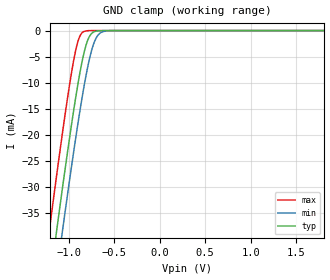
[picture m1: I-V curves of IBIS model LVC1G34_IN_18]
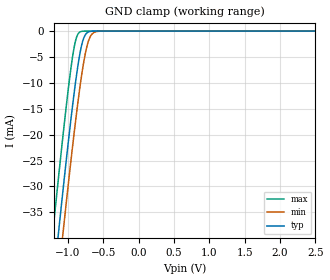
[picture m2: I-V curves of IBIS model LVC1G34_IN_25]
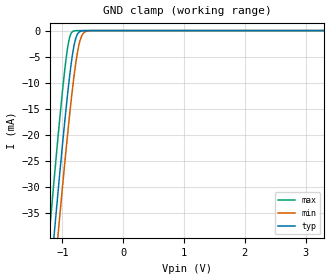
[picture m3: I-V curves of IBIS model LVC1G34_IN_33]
| TEXAS INSTRUMENTS INCORPORATED
| Standard Linear and Logic Group
| IBIS Model of SN74LVC1G34
| Single Buffer Gate
| This file contains package information for the following:
|  SON 6-pin (DSF) package as [Component] LVC1G34_DSF
|  SOT 5-pin (DCK) package as [Component] LVC1G34_DCK
|  SOT 5-pin (DBV) package as [Component] LVC1G34_DBV
|  DSBGA 5-pin (YEP) package as [Component] LVC1G34_YEP
|  DSBGA 5-pin (YZP) package as [Component] LVC1G34_YZP
|  DSBGA 4-pin (YZV) package as [Component] LVC1G34_YZV
| This device can be powered at the following Vccs:
|  1.8 volt Vcc
|  2.5 volt Vcc
|  3.3 volt Vcc
|  5 volt Vcc
| This file provides unique models under the [Model Selector] for each Vcc.
| For operation at a specific Vcc, select the appropriate model after each
| [Model Selector] keyword.
[IBIS Ver]   3.2
[Comment char]  |_char
[File Name]   sn74lvc1g34-5v.ibs
[File Rev]   1.4 | d_die
[Date]   03/06/2014
[Source]
| Texas Instruments Incorporated.
| Analog-eLab Design Center, HPA
| 12500 TI Blvd
| Dallas, TX -75243
[Notes]   Revision History:
| The following is an IBIS list for the LVC1G34.
| Please contact sllibis@ti.com with questions and
| comments concerning SLL IBIS models.
| - FILE REV HISTORY
| - 1.2 YEP and YZP packages added on 06/28/04
| - 1.3 YZV package added on 12/21/05
| - Power clamp data deleted as there is no power-clamp diode.
| - Due to the fact that the device is 5-V input/output
|   tolerant, the pullup/pulldown data has some
|   non-monotonic warnings.
| - 1.4 DSF package added 03/06/2014.
[Disclaimer]
| Property of Texas Instruments Incorporated.  Unauthorized
| reproduction and/or distribution is strictly prohibited.
| This product is protected under copyright law.
| Created  2003, (C) Copyright  2003, Texas Instruments
| Incorporated, All Rights Reserved
| UNLESS THERE IS A SIGNED, WRITTEN AGREEMENT TO THE
| CONTRARY, TEXAS INSTRUMENTS (TI) IS PROVIDING THE IBIS
| MODELS  AND WITHOUT ANY WARRANTY, EXPRESSED OR
| IMPLIED.  TI assumes no liability for:
|  1) the accuracy of the IBIS models provided to your
|   company;
|  2) the proper functioning of these IBIS Models in your
|   design or for any resulting applications; or
|  3) infringement of patents, copyrights or intellectual
|   property rights resulting from your use of these IBIS
|   models.
| TI provides IBIS Models as a service to our customers.
| You and your company shall not distribute, sell or give
| these models to anyone else without prior written
| permission from TI.
| TI reserves the right to make changes to our products or
| to discontinue any semiconductor product or service
| without notice, and advises our customers to obtain the
| latest version of relevant information to verify, before
| placing orders, that the information being relied on is
| current.
| Please be aware that your receipt and use of the IBIS
| information provided shall serve as acceptance of these
| terms and conditions.  If you do not accept these terms,
| you should return or destroy the IBIS models and any
| other accompanying information immediately.
[Copyright]
(C) Copyright 2014 Texas Instruments Incorporated.All rights reserved.
| Component LVC1G34_DSF 6-pin SON
[Component]   LVC1G34_DSF
[Manufacturer]   Texas Instruments, Inc.
[Package]
|   typ   min   max
R_pkg   0.041145   0.03325   0.04904
L_pkg   0.422435nH  0.33414nH   0.51073nH
C_pkg   0.109645pF  0.10407pF   0.11522pF
[Pin]   signal_name   model_name   R_pin   L_pin   C_pin
1   nc   nc   0.00109   0.02796nH   0.07413pF
2   A   LVC1G34_IN   0.03325   0.33414nH   0.10407pF
3   GND   GND   0.04429   0.45885nH   0.11133pF
4   Y   LVC1G34_OUT   0.04904   0.51073nH   0.11522pF
5   nc   nc   0.00037   0.03788nH   0.07652pF
6   VCC   POWER   0.04377   0.44894nH   0.11085pF
| Component LVC1G34_DCK 5-pin SOT
[Component]   LVC1G34_DCK
[Manufacturer]   Texas Instruments, Inc.
[Package]
|   typ   min   max
R_pkg   2.000e-02   1.700e-02   2.500e-02
L_pkg   9.980e-10   8.810e-10   1.069e-09
C_pkg   1.460e-13   1.180e-13   2.050e-13
[Pin]   signal_name   model_name   R_pin   L_pin   C_pin
1   NC   NC   1.900e-02   1.069e-09   1.620e-13
2   A   LVC1G34_IN   1.800e-02   8.810e-10   1.210e-13
3   GND   GND   1.700e-02   1.031e-09   2.050e-13
4   Y   LVC1G34_OUT   2.000e-02   9.600e-10   1.240e-13
5   VCC   POWER   2.500e-02   1.049e-09   1.180e-13
[Pin Mapping]   pulldown_ref   pullup_ref  gnd_clamp_ref   power_clamp_ref
1   NC   NC
2   gndbus   pwrbus
3   gndbus   NC
4   gndbus   pwrbus
5   NC   pwrbus
| Component LVC1G34_DBV 5-pin SOT
[Component]   LVC1G34_DBV
[Manufacturer]   Texas Instruments, Inc.
[Package]
|   typ   min   max
R_pkg   2.500e-02   2.100e-02   2.900e-02
L_pkg   1.529e-09   1.312e-09   1.906e-09
C_pkg   1.560e-13   1.100e-13   2.400e-13
[Pin]   signal_name   model_name   R_pin   L_pin   C_pin
1   NC   NC   2.100e-02   1.511e-09   1.440e-13
2   A   LVC1G34_IN   2.300e-02   1.312e-09   1.380e-13
3   GND   GND   2.900e-02   1.906e-09   2.400e-13
4   Y   LVC1G34_OUT   2.600e-02   1.541e-09   1.500e-13
5   VCC   POWER   2.500e-02   1.374e-09   1.100e-13
| Component LVC1G34_YEP 5-pin DSBGA
[Component]   LVC1G34_YEP
[Manufacturer]   Texas Instruments, Inc.
[Package]
|   typ   min   max
R_pkg   1.000e-03   1.000e-03   1.000e-03
L_pkg   2.500e-11   2.500e-11   2.500e-11
C_pkg   6.340e-14   6.200e-14   6.500e-14
[Pin]   signal_name   model_name   R_pin   L_pin   C_pin
1   NC   NC   1.000e-03   2.500e-11   6.400e-14
2   A   LVC1G34_IN   1.000e-03   2.500e-11   6.500e-14
3   GND   GND   1.000e-03   2.500e-11   6.400e-14
4   Y   LVC1G34_OUT   1.000e-03   2.500e-11   6.200e-14
5   VCC   POWER   1.000e-03   2.500e-11   6.200e-14
| Component LVC1G34_YZP 5-pin DSBGA
[Component]   LVC1G34_YZP
[Manufacturer]   Texas Instruments, Inc.
[Package]
|   typ   min   max
R_pkg   1.000e-03   1.000e-03   1.000e-03
L_pkg   2.500e-11   2.500e-11   2.500e-11
C_pkg   6.340e-14   6.200e-14   6.500e-14
[Pin]   signal_name   model_name   R_pin   L_pin   C_pin
1   NC   NC   1.000e-03   2.500e-11   6.400e-14
2   A   LVC1G34_IN   1.000e-03   2.500e-11   6.500e-14
3   GND   GND   1.000e-03   2.500e-11   6.400e-14
4   Y   LVC1G34_OUT   1.000e-03   2.500e-11   6.200e-14
5   VCC   POWER   1.000e-03   2.500e-11   6.200e-14
| Component LVC1G34_YZV 4-pin DSBGA
[Component]   LVC1G34_YZV
[Manufacturer]   Texas Instruments, Inc.
[Package]
|   typ   min   max
R_pkg   1.000e-03   1.000e-03   1.000e-03
L_pkg   2.600e-11   2.600e-11   2.600e-11
C_pkg   1.40e-14   1.400e-14   1.400e-14
[Pin]   signal_name   model_name   R_pin   L_pin   C_pin
1   A   LVC1G34_IN   1.000e-03   2.600e-11   1.400e-14
2   GND   GND   1.000e-03   2.600e-11   1.400e-14
3   Y   LVC1G34_OUT   1.000e-03   2.600e-11   1.400e-14
4   VCC   POWER   1.000e-03   2.600e-11   1.400e-14
| Model LVC1G34_IN
[Model Selector]   LVC1G34_IN
| LVC1G34_IN_18   1.8 volt Vcc
| LVC1G34_IN_25   2.5 volt Vcc
| LVC1G34_IN_33   3.3 volt Vcc
LVC1G34_IN_50   5 volt Vcc
| Model LVC1G34_OUT
[Model Selector]   LVC1G34_OUT
| LVC1G34_OUT_18   1.8 volt Vcc
| LVC1G34_OUT_25   2.5 volt Vcc
| LVC1G34_OUT_33   3.3 volt Vcc
LVC1G34_OUT_50   5 volt Vcc
| Models and submodels in the file (8): LVC1G34_IN_18 (Input), LVC1G34_IN_25 (Input), LVC1G34_IN_33 (Input), LVC1G34_IN_50 (Input), LVC1G34_OUT_18 (Output), LVC1G34_OUT_25 (Output), LVC1G34_OUT_33 (Output), LVC1G34_OUT_50 (Output)
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[Model]   LVC1G34_IN_18
Model_type  Input
Vinl=0.5775
Vinh=1.2675
| variable   typ   min   max
C_comp   3.50pF   2.97pF   4.31pF
[Temperature Range]   40   100   -40
| Ambient temperature   25   85   -40
[Voltage range]   1.8   1.65   1.95
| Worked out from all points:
|   GND clamp passes 1 mA (typ) near -0.77 V on its own axis
[GND Clamp]
| LVC1G34_IN_18
|   Voltage   I(typ)   I(min)   I(max)
-5.5V     -655.2mA   -662.2mA   -646.6mA
-1.215V   -49.6mA    -57.88mA   -38.96mA
-1.135V   -39.07mA   -47.36mA   -28.42mA
-1.075V   -31.35mA   -39.6mA    -20.75mA
-1.055V   -28.82mA   -37.05mA   -18.27mA
-955mV    -16.68mA   -24.66mA   -6.874mA
-885mV    -9.098mA   -16.55mA   -1.486mA
-825mV    -3.922mA   -10.26mA   -137.1uA
-780mV    -1.472mA   -6.227mA   -17.15uA
-715mV    -205.4uA   -2.128mA   -808.5nA
-650mV    -22.01uA   -443.9uA   -37.93nA
1.8V      3.326pA    6.142pA    3.026pA
[Model]   LVC1G34_IN_25
Model_type  Input
Vinl=0.7
Vinh=1.7
| variable   typ   min   max
C_comp   3.43pF   2.80pF   4.38pF
[Temperature Range]   40   100   -40
| Ambient temperature   25   85   -40
[Voltage range]   2.5   2.3   2.7
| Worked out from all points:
|   GND clamp passes 1 mA (typ) near -0.77 V on its own axis
[GND Clamp]
| LVC1G34_IN_25
|   Voltage   I(typ)   I(min)   I(max)
-5.5V     -655.2mA   -662.2mA   -646.6mA
-1.215V   -49.6mA    -57.88mA   -38.96mA
-1.14V    -39.72mA   -48.01mA   -29.07mA
-1.12V    -37.12mA   -45.41mA   -26.48mA
-1.08V    -31.98mA   -40.25mA   -21.38mA
-1.06V    -29.44mA   -37.69mA   -18.89mA
-960mV    -17.26mA   -25.26mA   -7.377mA
-890mV    -9.597mA   -17.1mA    -1.734mA
-785mV    -1.671mA   -6.635mA   -21.67uA
-720mV    -242.5uA   -2.354mA   -1.023uA
-650mV    -22.01uA   -443.9uA   -37.93nA
2.5V      4.713pA    7.577pA    4.389pA
[Model]   LVC1G34_IN_33
Model_type  Input
Vinl=0.8
Vinh=2.0
| variable   typ   min   max
C_comp   3.35pF   2.69pF   4.36pF
[Temperature Range]   40   100   -40
| Ambient temperature   25   85   -40
[Voltage range]   3.3   3   3.6
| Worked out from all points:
|   GND clamp passes 1 mA (typ) near -0.77 V on its own axis
[GND Clamp]
| LVC1G34_IN_33
|   Voltage   I(typ)   I(min)   I(max)
-5.5V     -655.2mA   -662.2mA   -646.6mA
-1.225V   -50.93mA   -59.21mA   -40.3mA
-1.145V   -40.37mA   -48.66mA   -29.72mA
-1.12V    -37.12mA   -45.41mA   -26.48mA
-1.08V    -31.98mA   -40.25mA   -21.38mA
-1.06V    -29.44mA   -37.69mA   -18.89mA
-965mV    -17.84mA   -25.87mA   -7.89mA
-885mV    -9.098mA   -16.55mA   -1.486mA
-780mV    -1.472mA   -6.227mA   -17.15uA
-715mV    -205.4uA   -2.128mA   -808.5nA
-640mV    -15.53uA   -338.1uA   -23.69nA
3.3V      6.304pA    9.258pA    5.93pA
